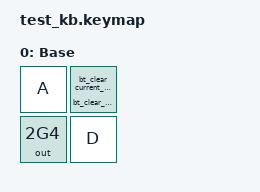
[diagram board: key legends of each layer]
#include <behaviors.dtsi>
#include <dt-bindings/zmk/keys.h>
#include <dt-bindings/zmk/bt.h>
#include <dt-bindings/zmk/outputs.h>
#include <dt-bindings/zmk/pointing.h>

/ {
    
    behaviors {
        
        // Macro to clear current BT profile (tap)
        bt_clear_current_macro: bt_clear_current_macro {
            compatible = "zmk,behavior-macro";
            #binding-cells = <0>;
            bindings = <&bt BT_CLR>;
        };

        // Macro to clear all BT profiles (hold)
        bt_clear_all_macro: bt_clear_all_macro {
            compatible = "zmk,behavior-macro";
            #binding-cells = <0>;
            bindings = <&bt BT_CLR_ALL>;
        };

        // Hold to clear all BT profiles, Tap to clear current
        bt_clear_holdtap: bt_clear_holdtap {
            compatible = "zmk,behavior-hold-tap";
            #binding-cells = <2>;
            flavor = "tap-preferred";
            tapping-term-ms = <3000>;
            bindings = <&bt_clear_all_macro>, <&bt_clear_current_macro>;
        };

    };

    keymap {
        compatible = "zmk,keymap";

        default_layer {
            display-name = "Base";
            bindings = <
                &kp A &bt_clear_holdtap 0 0
                &out OUT_2G4 &kp D
            >;
        };

                extra1 {
            display-name = "Extra 1";
            status = "reserved";
        };

        extra2 {
            display-name = "Extra 2";
            status = "reserved";
        };


    };
};
